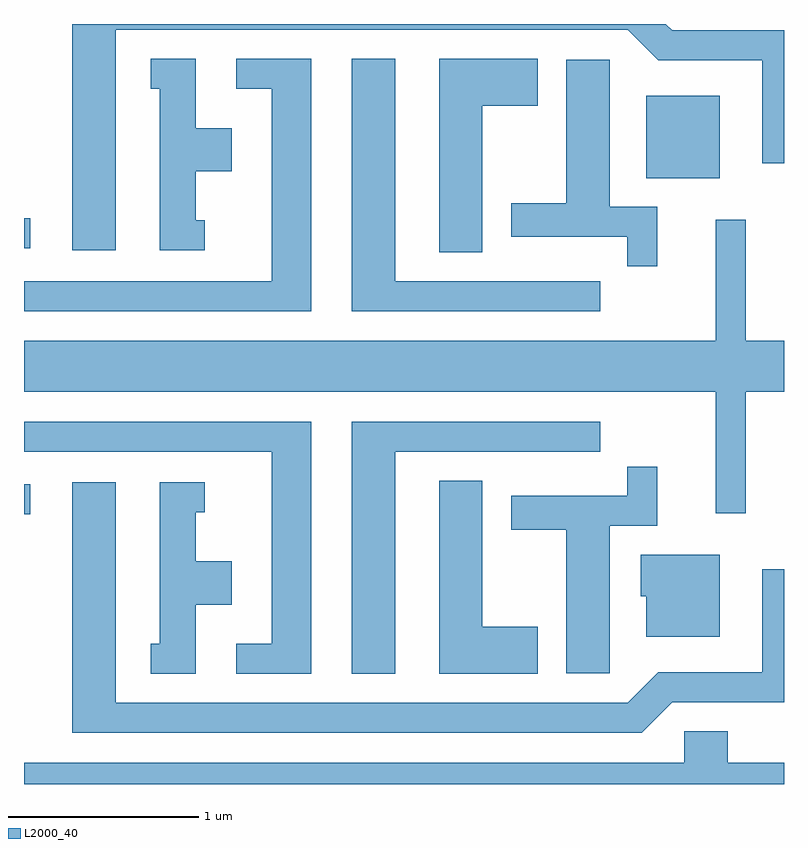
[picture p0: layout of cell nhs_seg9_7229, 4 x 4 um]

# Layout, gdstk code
import gdstk
lib = gdstk.Library(unit=1e-6, precision=1e-09)
def R(c, l, rs):  # rectangles x0, y0, x1, y1
    for r in rs: c.add(gdstk.rectangle(r[:2], r[2:], *l))
def P(c, l, *ps):  # polygons
    for p in ps: c.add(gdstk.Polygon(p, *l))
L2000_40 = (2000, 40)

nhs_seg9_7229 = lib.new_cell('nhs_seg9_7229')
R(nhs_seg9_7229, L2000_40, [(399.611,1977.851,399.643,1978.009), (399.611,1979.251,399.643,1979.409), (402.886,1979.621,403.274,1980.054)])
P(nhs_seg9_7229, L2000_40, [(400.094,1980.401),(402.789,1980.401),(402.949,1980.241),(403.496,1980.241),(403.496,1979.698),(403.611,1979.698),(403.611,1980.399),(403.022,1980.399),(402.989,1980.432),(399.866,1980.432),(399.866,1979.241),(400.094,1979.241)],
  [(400.563,1979.399),(400.514,1979.399),(400.514,1979.656),(400.704,1979.656),(400.704,1979.884),(400.514,1979.884),(400.514,1980.249),(400.278,1980.249),(400.278,1980.091),(400.326,1980.091),(400.326,1979.241),(400.563,1979.241)],
  [(402.024,1980.001),(402.314,1980.001),(402.314,1980.249),(401.796,1980.249),(401.796,1979.231),(402.024,1979.231)],
  [(401.124,1980.249),(400.728,1980.249),(400.728,1980.091),(400.916,1980.091),(400.916,1979.079),(399.611,1979.079),(399.611,1978.921),(401.124,1978.921)],
  [(402.643,1979.079),(401.564,1979.079),(401.564,1980.249),(401.336,1980.249),(401.336,1978.921),(402.643,1978.921)],
  [(402.944,1979.469),(402.694,1979.469),(402.694,1980.244),(402.466,1980.244),(402.466,1979.489),(402.176,1979.489),(402.176,1979.311),(402.786,1979.311),(402.786,1979.158),(402.944,1979.158)],
  [(403.409,1978.496),(403.611,1978.496),(403.611,1978.764),(403.409,1978.764),(403.409,1979.403),(403.251,1979.403),(403.251,1978.764),(399.611,1978.764),(399.611,1978.496),(403.251,1978.496),(403.251,1977.858),(403.409,1977.858)],
  [(401.564,1978.181),(402.643,1978.181),(402.643,1978.339),(401.336,1978.339),(401.336,1977.011),(401.564,1977.011)],
  [(401.124,1978.339),(399.611,1978.339),(399.611,1978.181),(400.916,1978.181),(400.916,1977.169),(400.728,1977.169),(400.728,1977.011),(401.124,1977.011)],
  [(402.694,1977.791),(402.944,1977.791),(402.944,1978.103),(402.786,1978.103),(402.786,1977.949),(402.176,1977.949),(402.176,1977.771),(402.466,1977.771),(402.466,1977.016),(402.694,1977.016)],
  [(402.314,1977.259),(402.024,1977.259),(402.024,1978.029),(401.796,1978.029),(401.796,1977.011),(402.314,1977.011)],
  [(403.022,1976.861),(403.611,1976.861),(403.611,1977.563),(403.496,1977.563),(403.496,1977.019),(402.949,1977.019),(402.789,1976.859),(400.094,1976.859),(400.094,1978.019),(399.866,1978.019),(399.866,1976.701),(402.862,1976.701)],
  [(400.514,1977.376),(400.704,1977.376),(400.704,1977.604),(400.514,1977.604),(400.514,1977.861),(400.563,1977.861),(400.563,1978.019),(400.326,1978.019),(400.326,1977.169),(400.278,1977.169),(400.278,1977.011),(400.514,1977.011)],
  [(403.274,1977.639),(402.856,1977.639),(402.856,1977.421),(402.886,1977.421),(402.886,1977.206),(403.274,1977.206)],
  [(403.611,1976.544),(403.314,1976.544),(403.314,1976.709),(403.086,1976.709),(403.086,1976.544),(399.611,1976.544),(399.611,1976.432),(403.611,1976.432)])

lib.write_gds('nhs_seg9_7229.gds')
